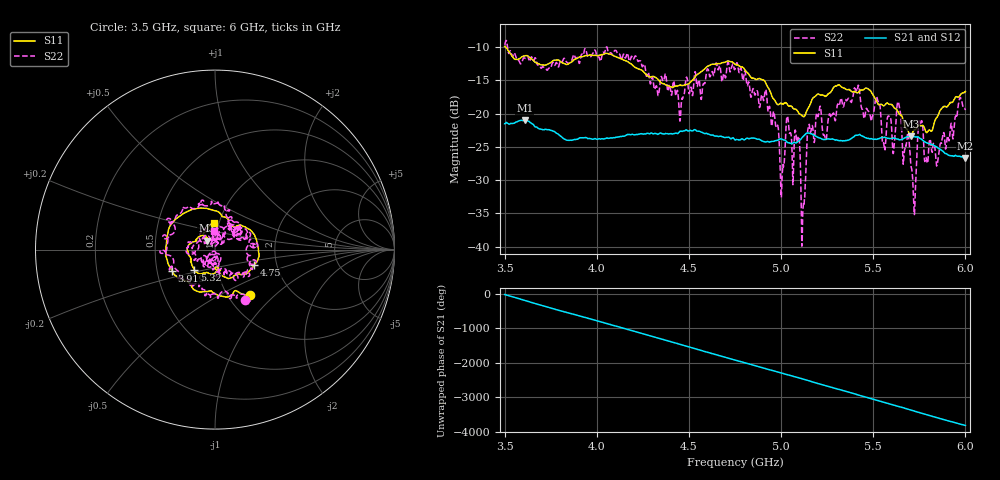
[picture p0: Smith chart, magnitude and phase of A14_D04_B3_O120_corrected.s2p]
! Created with skrf 1.9.0 (http://scikit-rf.org).
# Hz S RI R 50.0
!freq ReS11 ImS11 ReS21 ImS21 ReS12 ImS12 ReS22 ImS22
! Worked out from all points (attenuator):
!   1601 points, 3.5 GHz to 6 GHz, reference 50 ohm
!   highest |S21| = -21.01 dB at 3.609 GHz (marker M1); lowest = -26.7 dB at 6 GHz (marker M2)
!   lowest |S11| = -23.4 dB at 5.703 GHz (marker M3), VSWR 1.14, Z = 45.4 + j4.5 ohm
!   |S11| at or under -10 dB: 3.505 GHz to end of sweep
!   |S22| runs from -39.9 to -9.0 dB; largest |S21 - S12| = 0.0011
!   S11 on the Smith chart (normalised r, x): 3.5 GHz: 1.26, -0.71; 3.919 GHz: 0.60, -0.15; 4.75 GHz: 1.54, -0.27; 5.32 GHz: 0.78, -0.18; 6 GHz: 0.94, +0.28
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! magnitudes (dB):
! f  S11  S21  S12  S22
! 3.5 GHz  -9.9  -21.5  -21.5  -9.7
! 3.609 GHz  -11.3  -21.0  -21.0  -11.7
! 3.917 GHz  -11.5  -23.7  -23.6  -11.1
! 3.919 GHz  -11.5  -23.6  -23.6  -11.1
! 4.334 GHz  -14.9  -23.1  -23.0  -17.3
! 4.75 GHz  -12.6  -24.0  -23.9  -13.3
! 4.923 GHz  -15.8  -24.2  -24.2  -17.8
! 5.005 GHz  -18.5  -23.8  -23.8  -30.0
! 5.036 GHz  -18.7  -24.4  -24.3  -20.4
! 5.088 GHz  -19.6  -24.3  -24.3  -24.2
! 5.119 GHz  -20.4  -23.5  -23.4  -34.4
! 5.147 GHz  -19.2  -22.9  -22.9  -22.2
! 5.167 GHz  -17.9  -23.1  -23.0  -21.9
! 5.32 GHz  -15.8  -24.1  -24.0  -18.2
! 5.584 GHz  -18.6  -23.7  -23.7  -20.4
! 5.611 GHz  -19.0  -23.7  -23.6  -25.7
! 5.639 GHz  -20.0  -23.9  -23.9  -18.6
! 5.703 GHz  -23.4  -23.5  -23.5  -27.4
! 5.722 GHz  -22.5  -23.5  -23.4  -34.7
! 5.755 GHz  -21.8  -23.8  -23.7  -21.4
! 5.848 GHz  -20.4  -25.1  -25.0  -27.5
! 6 GHz  -16.7  -26.7  -26.6  -19.5
